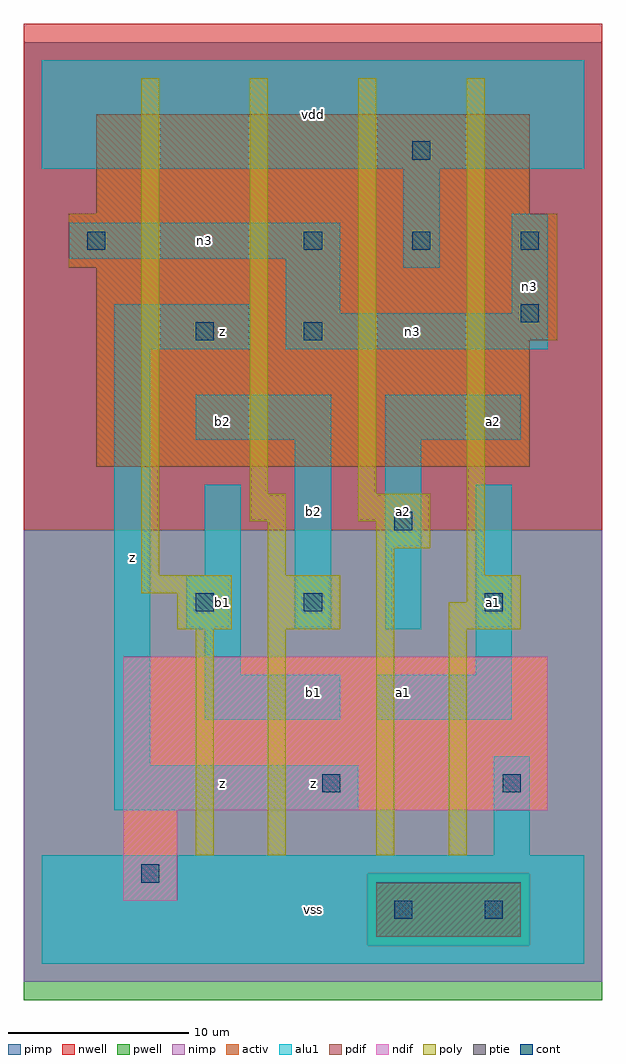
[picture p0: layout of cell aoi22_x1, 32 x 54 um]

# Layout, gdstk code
import gdstk
lib = gdstk.Library(unit=1e-6, precision=1e-09)
def R(c, l, rs):  # rectangles x0, y0, x1, y1
    for r in rs: c.add(gdstk.rectangle(r[:2], r[2:], *l))
def A(c, l, x, y, w, h, nx, ny, dx, dy):  # array of equal rectangles
    R(c, l, [(x+i*dx, y+j*dy, x+i*dx+w, y+j*dy+h) for i in range(nx) for j in range(ny)])
ndif = (3, 0)
pdif = (4, 0)
ptie = (6, 0)
cont = (25, 0)
pwell = (41, 0)
nwell = (42, 0)
activ = (43, 0)
pimp = (44, 0)
nimp = (45, 0)
poly = (46, 0)
alu1 = (49, 0)

aoi22_x1 = lib.new_cell('aoi22_x1')
R(aoi22_x1, ndif, [(4.5,3.5,7.5,8.5), (4.5,8.5,28,17)])
R(aoi22_x1, pdif, [(3,27.5,27,34.5), (3,34.5,28.5,38.5), (1.5,38.5,28.5,41.5), (3,41.5,27,47)])
R(aoi22_x1, ptie, [(18.5,1.5,26.5,4.5)])
A(aoi22_x1, cont, 14.5, 39.5, 1, 1, 3, 1, 6, 0)
R(aoi22_x1, cont, [(19.5,2.5,20.5,3.5), (24.5,2.5,25.5,3.5), (5.5,4.5,6.5,5.5), (15.5,9.5,16.5,10.5), (25.5,9.5,26.5,10.5), (8.5,19.5,9.5,20.5), (14.5,19.5,15.5,20.5), (24.5,19.5,25.5,20.5), (19.5,24,20.5,25), (8.5,34.5,9.5,35.5), (14.5,34.5,15.5,35.5), (26.5,35.5,27.5,36.5), (2.5,39.5,3.5,40.5), (20.5,44.5,21.5,45.5)])
R(aoi22_x1, pwell, [(-1,-2,31,24)])
R(aoi22_x1, nwell, [(-1,24,31,52)])
R(aoi22_x1, activ, [(18.5,1.5,26.5,4.5), (4.5,3.5,7.5,8.5), (4.5,8.5,28,17), (3,27.5,27,34.5), (3,34.5,28.5,38.5), (1.5,38.5,28.5,41.5), (3,41.5,27,47)])
R(aoi22_x1, pimp, [(18,1,27,5), (-1,24,31,51)])
R(aoi22_x1, nimp, [(-1,-1,31,1), (-1,1,18,5), (27,1,31,5), (-1,5,31,24)])
R(aoi22_x1, poly, [(8.5,6,9.5,18.5), (12.5,6,13.5,18.5), (18.5,6,19.5,23), (22.5,6,23.5,18.5), (7.5,18.5,10.5,20.5), (12.5,18.5,16.5,21.5), (22.5,18.5,26.5,20), (23.5,20,26.5,21.5), (5.5,20.5,10.5,21.5), (5.5,21.5,6.5,49), (12.5,21.5,13.5,24.5), (23.5,21.5,24.5,49), (18.5,23,21.5,24.5), (11.5,24.5,13.5,26), (17.5,24.5,21.5,26), (11.5,26,12.5,49), (17.5,26,18.5,49)])
R(aoi22_x1, alu1, [(0,0,30,6), (25,6,27,11.5), (4,8.5,17.5,11), (4,11,6,34), (9,13.5,16.5,16), (18.5,13.5,26,16), (9,16,11,18.5), (24,16,26,26.5), (8,18.5,11,21.5), (14,18.5,16,29), (19,18.5,21,29), (9,21.5,11,26.5), (8.5,29,16,31.5), (19,29,26.5,31.5), (4,34,11.5,36.5), (13.5,34,28,36), (13.5,36,16.5,39), (26,36,28,41.5), (20,38.5,22,44), (1.5,39,16.5,41), (0,44,30,50)])
aoi22_x1.add(gdstk.Label('z', (10,10), layer=49, texttype=0))
aoi22_x1.add(gdstk.Label('b1', (10,20), layer=49, texttype=0))
aoi22_x1.add(gdstk.Label('z', (5,22.5), layer=49, texttype=0))
aoi22_x1.add(gdstk.Label('b2', (10,30), layer=49, texttype=0))
aoi22_x1.add(gdstk.Label('z', (10,35), layer=49, texttype=0))
aoi22_x1.add(gdstk.Label('vss', (15,3), layer=49, texttype=0))
aoi22_x1.add(gdstk.Label('z', (15,10), layer=49, texttype=0))
aoi22_x1.add(gdstk.Label('b1', (15,15), layer=49, texttype=0))
aoi22_x1.add(gdstk.Label('b2', (15,25), layer=49, texttype=0))
aoi22_x1.add(gdstk.Label('n3', (9,40), layer=49, texttype=0))
aoi22_x1.add(gdstk.Label('vdd', (15,47), layer=49, texttype=0))
aoi22_x1.add(gdstk.Label('a1', (20,15), layer=49, texttype=0))
aoi22_x1.add(gdstk.Label('a2', (20,25), layer=49, texttype=0))
aoi22_x1.add(gdstk.Label('a1', (25,20), layer=49, texttype=0))
aoi22_x1.add(gdstk.Label('a2', (25,30), layer=49, texttype=0))
aoi22_x1.add(gdstk.Label('n3', (20.5,35), layer=49, texttype=0))
aoi22_x1.add(gdstk.Label('n3', (27,37.5), layer=49, texttype=0))

lib.write_gds('aoi22_x1.gds')
